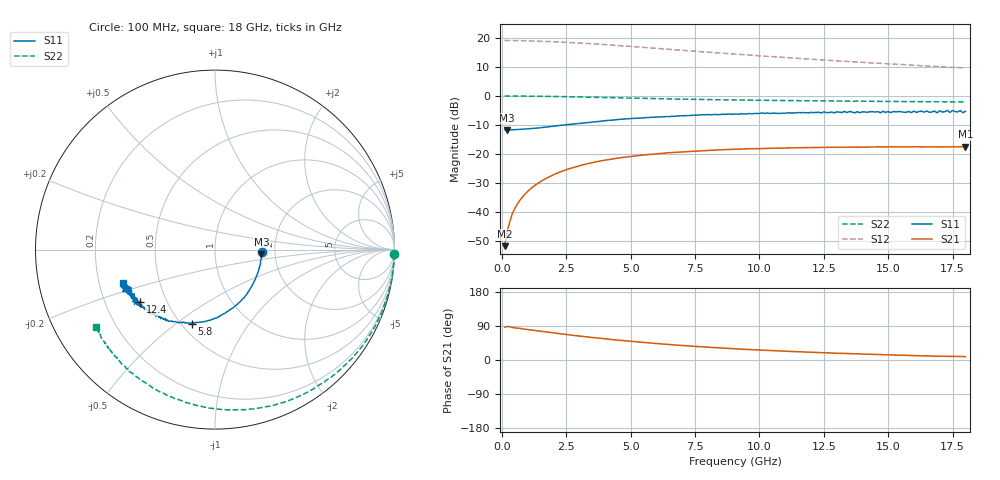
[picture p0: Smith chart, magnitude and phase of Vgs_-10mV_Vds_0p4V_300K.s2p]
#  HZ  S  DB  R  50.00
! Rohde & Schwarz ZVA50 4Ports - Version 4.11 - 1145.1110k52 SN: 100136
! Date: 2022-09-20 22:13:11
! Measurements: S11 S21 S12 S22
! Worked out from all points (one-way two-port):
!   180 points, 100 MHz to 18 GHz, reference 50 ohm
!   highest |S21| = -17.49 dB at 18 GHz (marker M1); lowest = -51.8 dB at 100 MHz (marker M2)
!   lowest |S11| = -11.7 dB at 200 MHz (marker M3), VSWR 1.70, Z = 84.8 - j4.38 ohm
!   |S11| at or under -10 dB: start of sweep to 2.431 GHz
!   |S22| runs from -2.1 to 0.0 dB; largest |S21 - S12| = 9.1
!   S11 on the Smith chart (normalised r, x): 100 MHz: 1.70, -0.04; 5.8 GHz: 0.56, -0.57; 12.4 GHz: 0.35, -0.28; 18 GHz: 0.30, -0.16
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1e8  -11.68 -2.4  -51.85 86.9  19.18 179.1  -0.02 -1.5
2e8  -11.70 -5.3  -46.79 88.5  19.18 178.1  -0.00 -3.1
5e8  -11.63 -14.2  -38.75 84.7  19.13 175.0  -0.02 -8.2
1.1e9  -11.27 -30.6  -32.09 79.4  19.05 169.2  -0.07 -17.9
1.6e9  -10.85 -43.1  -28.99 75.2  18.92 164.4  -0.10 -25.8
2.2e9  -10.22 -56.6  -26.43 70.0  18.69 159.0  -0.19 -35.0
3.1e9  -9.36 -73.2  -23.87 62.4  18.28 151.2  -0.34 -47.9
3.8e9  -8.73 -84.2  -22.46 57.1  17.88 145.5  -0.48 -57.4
4.5e9  -8.11 -93.5  -21.44 52.4  17.44 140.4  -0.61 -66.1
5.8e9  -7.30 -107.2  -20.10 44.5  16.60 132.1  -0.87 -80.4
6.1e9  -7.23 -109.6  -19.86 42.8  16.40 130.3  -0.92 -83.4
7.6e9  -6.57 -121.8  -18.98 35.6  15.38 122.5  -1.17 -96.9
9.1e9  -6.23 -129.4  -18.36 29.5  14.47 115.9  -1.36 -108.0
1.01e10  -5.81 -135.1  -18.16 26.0  13.80 112.0  -1.48 -114.6
1.21e10  -5.73 -142.7  -17.80 20.1  12.64 105.5  -1.67 -125.4
1.24e10  -5.87 -145.1  -17.73 19.4  12.50 104.5  -1.66 -126.8
1.34e10  -5.74 -147.4  -17.66 17.1  11.95 101.5  -1.75 -131.3
1.51e10  -5.71 -149.7  -17.52 13.7  11.12 97.5  -1.85 -137.6
1.58e10  -5.33 -154.0  -17.56 12.0  10.72 95.3  -1.92 -141.0
1.72e10  -5.45 -160.0  -17.56 9.6  10.03 92.8  -2.02 -145.5
1.76e10  -5.35 -154.0  -17.55 9.5  9.86 92.4  -2.07 -146.3
1.8e10  -5.30 -160.3  -17.49 8.9  9.73 91.3  -2.02 -147.0
